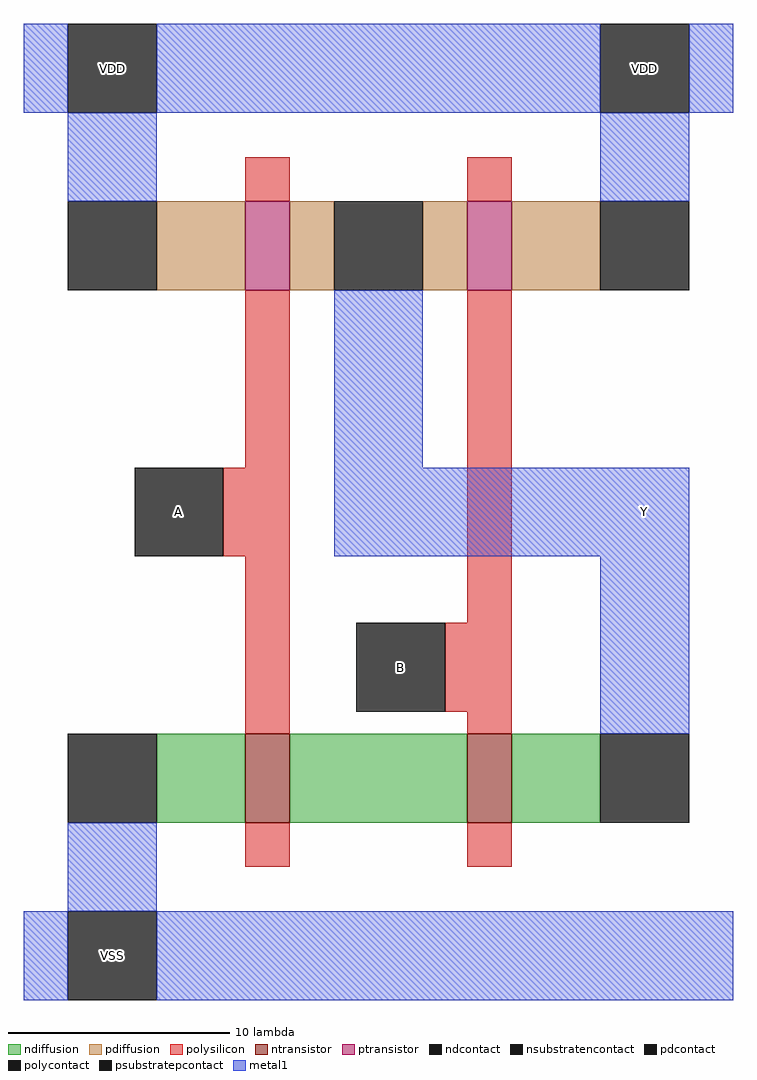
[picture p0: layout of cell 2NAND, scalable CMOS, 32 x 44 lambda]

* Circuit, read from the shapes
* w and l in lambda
.subckt 2NAND A B VDD VSS Y
M1 n1 A VSS VSS nfet w=4 l=2
M2 Y B n1 VSS nfet w=4 l=2
M3 Y A VDD VDD pfet w=4 l=2
M4 VDD B Y VDD pfet w=4 l=2
.ends

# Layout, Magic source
magic
tech scmos
<< ntransistor >>
rect 10 8 12 12
rect 20 8 22 12
<< ptransistor >>
rect 10 32 12 36
rect 20 32 22 36
<< ndiffusion >>
rect 6 8 10 12
rect 12 8 20 12
rect 22 8 26 12
<< pdiffusion >>
rect 6 32 10 36
rect 12 32 14 36
rect 18 32 20 36
rect 22 32 26 36
<< ndcontact >>
rect 2 8 6 12
rect 26 8 30 12
<< pdcontact >>
rect 2 32 6 36
rect 14 32 18 36
rect 26 32 30 36
<< psubstratepcontact >>
rect 2 0 6 4
<< nsubstratencontact >>
rect 2 40 6 44
rect 26 40 30 44
<< polysilicon >>
rect 10 36 12 38
rect 20 36 22 38
rect 10 24 12 32
rect 9 20 12 24
rect 10 12 12 20
rect 20 17 22 32
rect 19 13 22 17
rect 20 12 22 13
rect 10 6 12 8
rect 20 6 22 8
<< polycontact >>
rect 5 20 9 24
rect 15 13 19 17
<< metal1 >>
rect 0 40 2 44
rect 6 40 26 44
rect 30 40 32 44
rect 2 36 6 40
rect 26 36 30 40
rect 14 24 18 32
rect 14 20 30 24
rect 26 12 30 20
rect 2 4 6 8
rect 0 0 2 4
rect 6 0 32 4
<< labels >>
rlabel psubstratepcontact 4 2 4 2 1 VSS
rlabel nsubstratencontact 4 42 4 42 5 VDD
rlabel nsubstratencontact 28 42 28 42 5 VDD
rlabel polycontact 7 22 7 22 1 A
rlabel polycontact 17 15 17 15 1 B
rlabel metal1 28 22 28 22 1 Y
<< end >>
